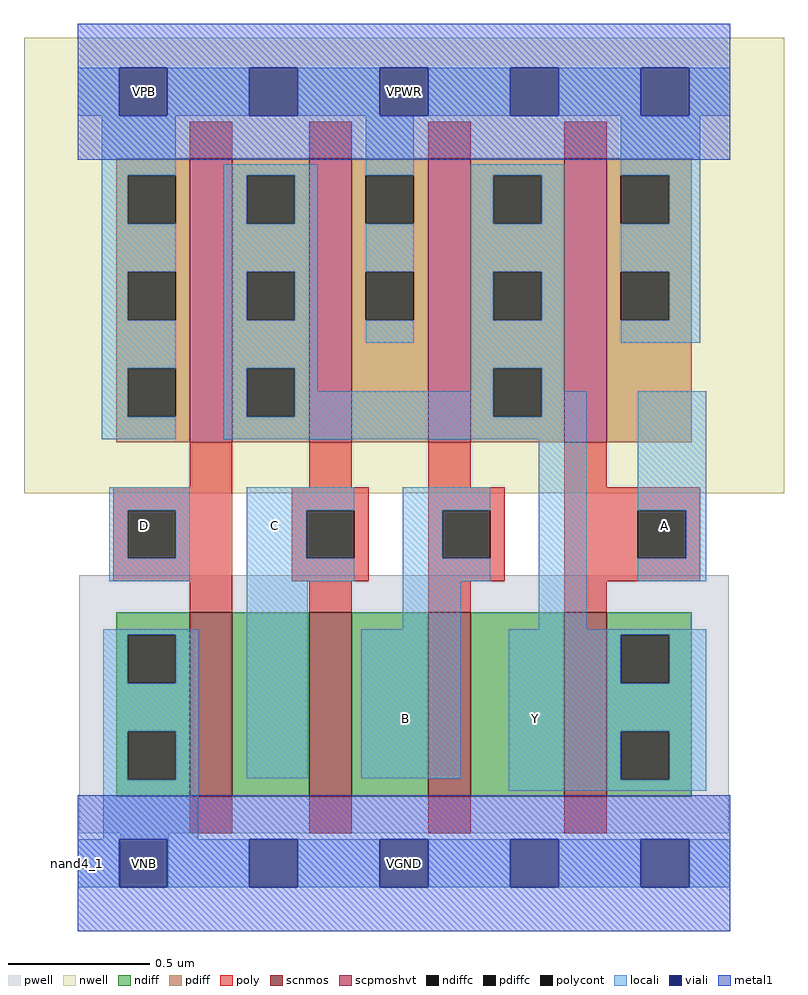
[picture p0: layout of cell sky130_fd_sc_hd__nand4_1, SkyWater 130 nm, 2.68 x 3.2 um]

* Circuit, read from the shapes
.subckt sky130_fd_sc_hd__nand4_1 A B C D VGND VNB VPB VPWR Y
XM1 n1 D VGND VNB sky130_fd_pr__nfet_01v8 w=0.65 l=0.15
XM2 n2 C n1 VNB sky130_fd_pr__nfet_01v8 w=0.65 l=0.15
XM3 n3 B n2 VNB sky130_fd_pr__nfet_01v8 w=0.65 l=0.15
XM4 Y A n3 VNB sky130_fd_pr__nfet_01v8 w=0.65 l=0.15
XM5 Y D VPWR VPB sky130_fd_pr__pfet_01v8_hvt w=1 l=0.15
XM6 VPWR C Y VPB sky130_fd_pr__pfet_01v8_hvt w=1 l=0.15
XM7 Y B VPWR VPB sky130_fd_pr__pfet_01v8_hvt w=1 l=0.15
XM8 VPWR A Y VPB sky130_fd_pr__pfet_01v8_hvt w=1 l=0.15
.ends

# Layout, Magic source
magic
tech sky130B
magscale 1 2
<< nwell >>
rect -38 261 498 582
<< pwell >>
rect 1 21 459 203
rect 30 -17 64 21
<< scnmos >>
rect 79 47 109 177
rect 163 47 193 177
rect 247 47 277 177
rect 343 47 373 177
<< scpmoshvt >>
rect 79 297 109 497
rect 163 297 193 497
rect 247 297 277 497
rect 343 297 373 497
<< ndiff >>
rect 27 161 79 177
rect 27 127 35 161
rect 69 127 79 161
rect 27 93 79 127
rect 27 59 35 93
rect 69 59 79 93
rect 27 47 79 59
rect 109 47 163 177
rect 193 47 247 177
rect 277 47 343 177
rect 373 161 433 177
rect 373 127 383 161
rect 417 127 433 161
rect 373 93 433 127
rect 373 59 383 93
rect 417 59 433 93
rect 373 47 433 59
<< pdiff >>
rect 27 485 79 497
rect 27 451 35 485
rect 69 451 79 485
rect 27 417 79 451
rect 27 383 35 417
rect 69 383 79 417
rect 27 349 79 383
rect 27 315 35 349
rect 69 315 79 349
rect 27 297 79 315
rect 109 485 163 497
rect 109 451 119 485
rect 153 451 163 485
rect 109 417 163 451
rect 109 383 119 417
rect 153 383 163 417
rect 109 349 163 383
rect 109 315 119 349
rect 153 315 163 349
rect 109 297 163 315
rect 193 485 247 497
rect 193 451 203 485
rect 237 451 247 485
rect 193 417 247 451
rect 193 383 203 417
rect 237 383 247 417
rect 193 297 247 383
rect 277 485 343 497
rect 277 451 293 485
rect 327 451 343 485
rect 277 417 343 451
rect 277 383 293 417
rect 327 383 343 417
rect 277 349 343 383
rect 277 315 293 349
rect 327 315 343 349
rect 277 297 343 315
rect 373 485 433 497
rect 373 451 383 485
rect 417 451 433 485
rect 373 417 433 451
rect 373 383 383 417
rect 417 383 433 417
rect 373 297 433 383
<< ndiffc >>
rect 35 127 69 161
rect 35 59 69 93
rect 383 127 417 161
rect 383 59 417 93
<< pdiffc >>
rect 35 451 69 485
rect 35 383 69 417
rect 35 315 69 349
rect 119 451 153 485
rect 119 383 153 417
rect 119 315 153 349
rect 203 451 237 485
rect 203 383 237 417
rect 293 451 327 485
rect 293 383 327 417
rect 293 315 327 349
rect 383 451 417 485
rect 383 383 417 417
<< poly >>
rect 79 497 109 523
rect 163 497 193 523
rect 247 497 277 523
rect 343 497 373 523
rect 79 265 109 297
rect 163 265 193 297
rect 247 265 277 297
rect 343 265 373 297
rect 25 249 109 265
rect 25 215 35 249
rect 69 215 109 249
rect 25 199 109 215
rect 151 249 205 265
rect 151 215 161 249
rect 195 215 205 249
rect 151 199 205 215
rect 247 249 301 265
rect 247 215 257 249
rect 291 215 301 249
rect 247 199 301 215
rect 343 249 439 265
rect 343 215 395 249
rect 429 215 439 249
rect 343 199 439 215
rect 79 177 109 199
rect 163 177 193 199
rect 247 177 277 199
rect 343 177 373 199
rect 79 21 109 47
rect 163 21 193 47
rect 247 21 277 47
rect 343 21 373 47
<< polycont >>
rect 35 215 69 249
rect 161 215 195 249
rect 257 215 291 249
rect 395 215 429 249
<< locali >>
rect 0 527 29 561
rect 63 527 121 561
rect 155 527 213 561
rect 247 527 305 561
rect 339 527 397 561
rect 431 527 460 561
rect 17 485 69 527
rect 17 451 35 485
rect 17 417 69 451
rect 17 383 35 417
rect 17 349 69 383
rect 17 315 35 349
rect 17 299 69 315
rect 103 485 169 493
rect 103 451 119 485
rect 153 451 169 485
rect 103 417 169 451
rect 103 383 119 417
rect 153 383 169 417
rect 103 349 169 383
rect 203 485 237 527
rect 203 417 237 451
rect 203 367 237 383
rect 277 485 343 493
rect 277 451 293 485
rect 327 451 343 485
rect 277 417 343 451
rect 277 383 293 417
rect 327 383 343 417
rect 103 315 119 349
rect 153 333 169 349
rect 277 349 343 383
rect 383 485 439 527
rect 417 451 439 485
rect 383 417 439 451
rect 417 383 439 417
rect 383 367 439 383
rect 277 333 293 349
rect 153 315 293 333
rect 327 333 343 349
rect 327 315 359 333
rect 103 299 359 315
rect 22 249 79 265
rect 22 215 35 249
rect 69 215 79 249
rect 22 199 79 215
rect 119 249 195 265
rect 119 215 161 249
rect 119 199 195 215
rect 229 249 291 265
rect 229 215 257 249
rect 229 199 291 215
rect 18 161 85 165
rect 18 127 35 161
rect 69 127 85 161
rect 18 93 85 127
rect 18 59 35 93
rect 69 59 85 93
rect 119 60 162 199
rect 229 165 270 199
rect 325 165 359 299
rect 395 249 443 333
rect 429 215 443 249
rect 395 199 443 215
rect 200 60 270 165
rect 304 161 443 165
rect 304 127 383 161
rect 417 127 443 161
rect 304 93 443 127
rect 18 17 85 59
rect 304 59 383 93
rect 417 59 443 93
rect 304 51 443 59
rect 0 -17 29 17
rect 63 -17 121 17
rect 155 -17 213 17
rect 247 -17 305 17
rect 339 -17 397 17
rect 431 -17 460 17
<< viali >>
rect 29 527 63 561
rect 121 527 155 561
rect 213 527 247 561
rect 305 527 339 561
rect 397 527 431 561
rect 29 -17 63 17
rect 121 -17 155 17
rect 213 -17 247 17
rect 305 -17 339 17
rect 397 -17 431 17
<< metal1 >>
rect 0 561 460 592
rect 0 527 29 561
rect 63 527 121 561
rect 155 527 213 561
rect 247 527 305 561
rect 339 527 397 561
rect 431 527 460 561
rect 0 496 460 527
rect 0 17 460 48
rect 0 -17 29 17
rect 63 -17 121 17
rect 155 -17 213 17
rect 247 -17 305 17
rect 339 -17 397 17
rect 431 -17 460 17
rect 0 -48 460 -17
<< labels >>
flabel locali s 122 221 156 255 0 FreeSans 250 0 0 0 C
port 3 nsew signal input
flabel locali s 214 85 248 119 0 FreeSans 250 0 0 0 B
port 2 nsew signal input
flabel locali s 306 85 340 119 0 FreeSans 250 0 0 0 Y
port 9 nsew signal output
flabel locali s 30 221 64 255 0 FreeSans 250 0 0 0 D
port 4 nsew signal input
flabel locali s 397 221 431 255 0 FreeSans 250 0 0 0 A
port 1 nsew signal input
flabel nwell s 30 527 64 561 0 FreeSans 200 0 0 0 VPB
port 7 nsew power bidirectional
flabel pwell s 30 -17 64 17 0 FreeSans 200 0 0 0 VNB
port 6 nsew ground bidirectional
flabel metal1 s 30 527 64 561 0 FreeSans 200 0 0 0 VPWR
port 8 nsew power bidirectional abutment
flabel metal1 s 30 -17 64 17 0 FreeSans 200 0 0 0 VGND
port 5 nsew ground bidirectional abutment
rlabel comment s 0 0 0 0 4 nand4_1
rlabel metal1 s 0 -48 460 48 1 VGND
port 5 nsew ground bidirectional abutment
rlabel metal1 s 0 496 460 592 1 VPWR
port 8 nsew power bidirectional abutment
<< properties >>
string FIXED_BBOX 0 0 460 544
string GDS_END 1868056
string GDS_FILE $PDKPATH/libs.ref/sky130_fd_sc_hd/gds/sky130_fd_sc_hd.gds
string GDS_START 1862852
string LEFclass CORE
string LEFsite unithd
string LEFsymmetry X Y R90
string path 0.000 0.000 11.500 0.000 
<< end >>
